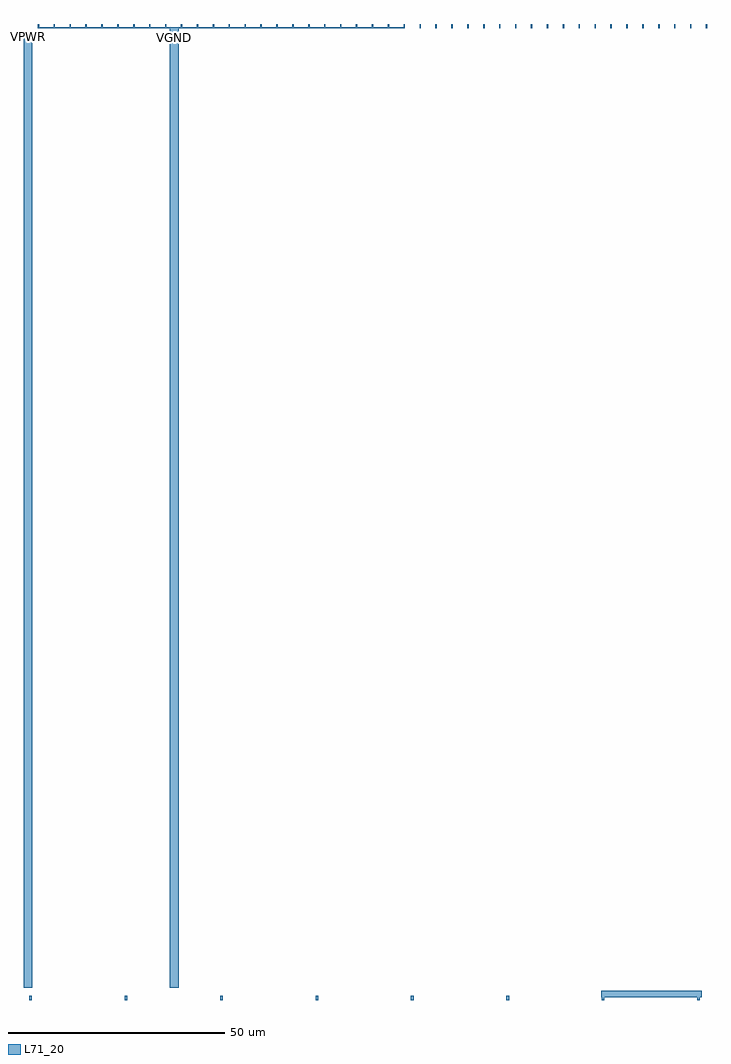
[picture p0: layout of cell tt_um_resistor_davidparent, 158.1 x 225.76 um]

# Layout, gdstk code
import gdstk
lib = gdstk.Library(unit=1e-6, precision=1e-09)
def R(c, l, rs):  # rectangles x0, y0, x1, y1
    for r in rs: c.add(gdstk.rectangle(r[:2], r[2:], *l))
def A(c, l, x, y, w, h, nx, ny, dx, dy):  # array of equal rectangles
    R(c, l, [(x+i*dx, y+j*dy, x+i*dx+w, y+j*dy+h) for i in range(nx) for j in range(ny)])
L71_20 = (71, 20)

tt_block_1x2_pg_ana = lib.new_cell('tt_block_1x2_pg_ana')
A(tt_block_1x2_pg_ana, L71_20, 2, 0, 0.6, 1, 8, 1, 22.08, 0)
A(tt_block_1x2_pg_ana, L71_20, 3.99, 224.76, 0.3, 1, 43, 1, 3.68, 0)

tt_um_resistor_davidpare = lib.new_cell('tt_um_resistor_davidparent')
R(tt_um_resistor_davidpare, L71_20, [(134.31,0.65,157.6,2.175), (34.8,221.84,36.315,223.575), (1.08,222.28,2.385,223.435)])
tt_um_resistor_davidpare.add(gdstk.FlexPath([(35.555,224.9),(88.76,224.9)], 0.3, ends=(0.15, 0), simple_path=True, layer=71, datatype=20))  # L71_20
tt_um_resistor_davidpare.add(gdstk.FlexPath([(35.555,222.785),(35.555,223.885)], 2, ends=(0, 1), simple_path=True, layer=71, datatype=20))  # L71_20
tt_um_resistor_davidpare.add(gdstk.FlexPath([(4.01,224.9),(35.555,224.9)], 0.3, ends=(0, 0.15), simple_path=True, layer=71, datatype=20))  # L71_20
tt_um_resistor_davidpare.add(gdstk.FlexPath([(35.54,2.85),(35.54,223.775)], 2, ends="flush", simple_path=True, layer=71, datatype=20))  # L71_20
tt_um_resistor_davidpare.add(gdstk.FlexPath([(1.74,2.85),(1.74,223.775)], 2, ends="flush", simple_path=True, layer=71, datatype=20))  # L71_20
tt_um_resistor_davidpare.add(gdstk.Reference(tt_block_1x2_pg_ana, (-0.01,-0.01)))
tt_um_resistor_davidpare.add(gdstk.Label('VPWR', (1.77,222.88), layer=71, texttype=16))
tt_um_resistor_davidpare.add(gdstk.Label('VGND', (35.565,222.705), layer=71, texttype=16))

lib.write_gds('tt_um_resistor_davidparent.gds')
